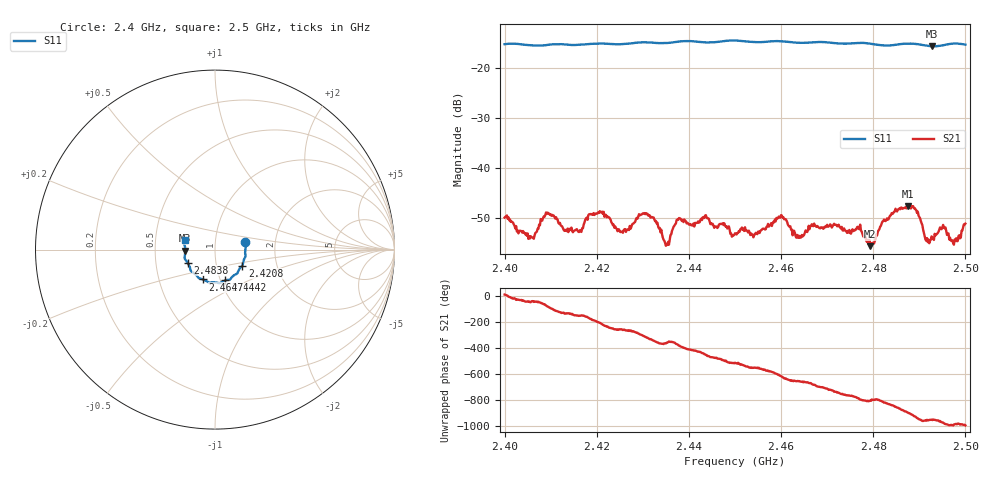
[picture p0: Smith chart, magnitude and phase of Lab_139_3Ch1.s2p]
# Hz S RI R 50
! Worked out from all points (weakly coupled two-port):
!   601 points, 2.4 GHz to 2.5 GHz, reference 50 ohm
!   highest |S21| = -47.65 dB at 2.4875 GHz (marker M1); lowest = -55.7 dB at 2.4793 GHz (marker M2)
!   lowest |S11| = -15.6 dB at 2.4928 GHz (marker M3), VSWR 1.40, Z = 35.8 - j0.439 ohm
!   |S11| at or under -10 dB: start of sweep to end of sweep
!   S12 and S22 are empty: the file has one direction only
!   S11 on the Smith chart (normalised r, x): 2.4 GHz: 1.40, +0.12; 2.4208 GHz: 1.33, -0.24; 2.4442 GHz: 1.05, -0.37; 2.4647 GHz: 0.83, -0.29; 2.4838 GHz: 0.73, -0.11; 2.5 GHz: 0.71, +0.08
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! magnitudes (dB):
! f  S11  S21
! 2.4 GHz  -15.2  -50.0
! 2.4057 GHz  -15.4  -53.7
! 2.4093 GHz  -15.3  -49.0
! 2.4167 GHz  -15.3  -52.9
! 2.4208 GHz  -15.1  -48.9
! 2.4252 GHz  -15.2  -52.9
! 2.4302 GHz  -14.8  -49.1
! 2.4333 GHz  -15.0  -51.8
! 2.4352 GHz  -15.0  -55.3
! 2.4378 GHz  -14.7  -50.1
! 2.4442 GHz  -14.9  -50.1
! 2.45 GHz  -14.5  -53.1
! 2.46 GHz  -14.6  -49.5
! 2.4647 GHz  -14.9  -53.8
! 2.4667 GHz  -14.8  -51.3
! 2.4793 GHz  -15.1  -55.7
! 2.4833 GHz  -15.5  -50.3
! 2.4838 GHz  -15.4  -49.5
! 2.4875 GHz  -15.1  -47.6
! 2.4928 GHz  -15.6  -54.1
! 2.4978 GHz  -15.1  -54.7
! 2.5 GHz  -15.3  -51.2
